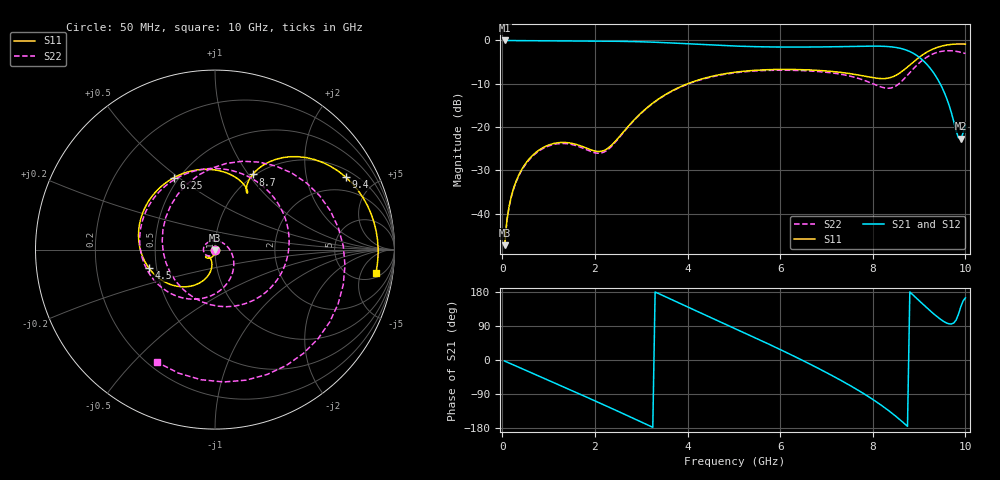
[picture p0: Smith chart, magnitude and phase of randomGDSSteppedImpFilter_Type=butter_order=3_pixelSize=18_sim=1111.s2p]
! freq	dB(S11)	phase(S11)	dB(S12)	phase(S12)
!  dB(S21)	phase(S21)	dB(S22)	phase(S22)
!S-par simulation data
#  GHz  S  DB  R 50
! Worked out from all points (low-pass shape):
!   200 points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, 50 MHz to 10 GHz, reference 50 ohm
!   highest |S21| = -0.02 dB at 50 MHz (marker M1); lowest = -22.7 dB at 9.9 GHz (marker M2)
!   |S21| within 3 dB of the highest: start of sweep to 8.88 GHz
!   lowest |S11| = -47.3 dB at 50 MHz (marker M3), VSWR 1.01, Z = 50.1 - j0.404 ohm
!   |S11| at or under -10 dB: start of sweep to 4.005 GHz
!   |S22| runs from -47.5 to -2.4 dB; largest |S21 - S12| = 0
!   S11 on the Smith chart (normalised r, x): 50 MHz: 1.00, -0.01; 4.5 GHz: 0.45, -0.11; 6.25 GHz: 0.47, +0.48; 8.7 GHz: 0.98, +1.05; 9.4 GHz: 1.29, +3.40; 10 GHz: 7, -10
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0.05  -47.33 -69.5  -0.02 -2.7  -0.02 -2.7  -47.50 -69.7
0.2  -35.76 -87.2  -0.04 -10.8  -0.04 -10.8  -35.91 -91.3
0.55  -27.76 -109.1  -0.08 -29.6  -0.08 -29.6  -27.95 -121.3
1.2  -23.63 -135.9  -0.12 -64.4  -0.12 -64.4  -23.86 -170.3
1.75  -24.58 -143.8  -0.15 -94.1  -0.15 -94.1  -24.92 136.5
2.2  -25.39 -121.2  -0.18 -118.8  -0.18 -118.8  -25.76 62.5
2.65  -20.69 -100.6  -0.24 -143.8  -0.24 -143.8  -20.83 -8.6
3.4  -13.34 -117.1  -0.48 173.9  -0.48 173.9  -13.42 -76.1
4.5  -8.36 -164.3  -1.06 112.2  -1.06 112.2  -8.48 -151.7
5.05  -7.31 171.3  -1.32 81.6  -1.32 81.6  -7.45 171.8
6.25  -6.71 120.0  -1.55 13.0  -1.55 13.0  -6.91 86.0
6.7  -6.86 101.7  -1.53 -14.3  -1.53 -14.3  -7.10 49.9
7.2  -7.26 82.4  -1.47 -46.3  -1.47 -46.3  -7.63 5.9
7.65  -7.92 67.7  -1.38 -77.3  -1.38 -77.3  -8.65 -40.2
8  -8.60 60.8  -1.33 -104.0  -1.33 -104.0  -10.00 -86.5
8.35  -8.67 61.7  -1.44 -134.3  -1.44 -134.3  -11.05 -153.5
8.7  -6.59 63.4  -2.15 -169.6  -2.15 -169.6  -8.61 124.1
9.05  -3.53 51.0  -4.30 151.1  -4.30 151.1  -4.79 53.9
9.4  -1.59 29.1  -8.94 113.3  -8.94 113.3  -2.74 -6.9
9.7  -0.92 9.6  -16.80 95.1  -16.80 95.1  -2.41 -58.3
9.9  -0.83 -2.5  -22.70 140.2  -22.70 140.2  -2.74 -96.1
10  -0.86 -8.1  -19.58 164.0  -19.58 164.0  -3.03 -117.1
